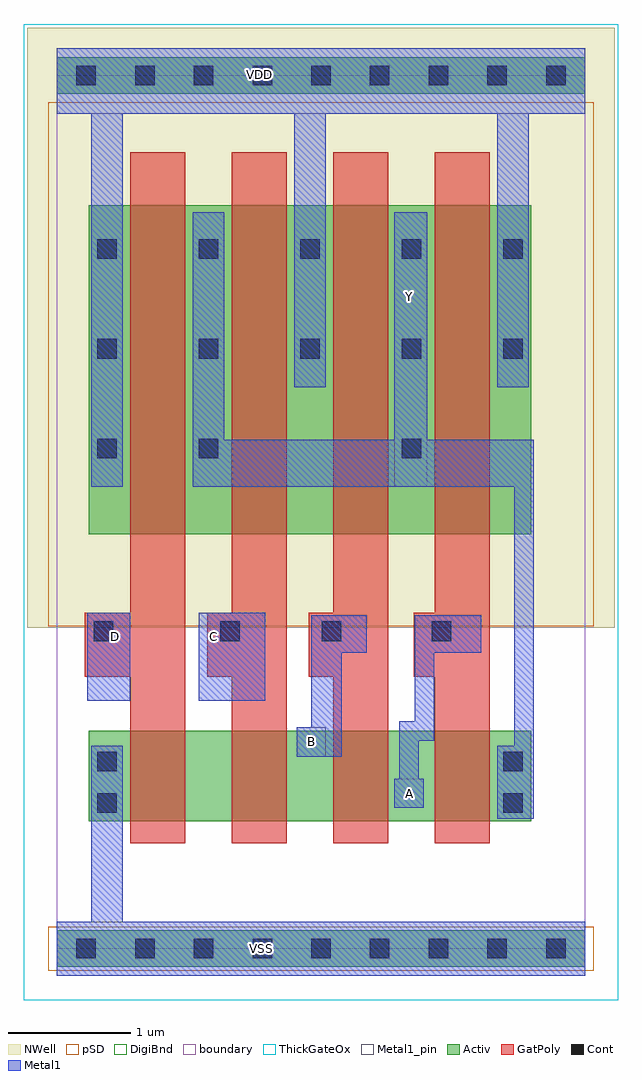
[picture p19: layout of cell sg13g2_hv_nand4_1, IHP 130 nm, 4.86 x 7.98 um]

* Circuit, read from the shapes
.subckt sg13g2_hv_nand4_1 A B C D VDD VSS Y
XM1 n1 D VSS VSS sg13_hv_nmos w=0.74u l=0.45u
XM2 n2 C n1 VSS sg13_hv_nmos w=0.74u l=0.45u
XM3 n3 B n2 VSS sg13_hv_nmos w=0.74u l=0.45u
XM4 Y A n3 VSS sg13_hv_nmos w=0.74u l=0.45u
XM5 Y D VDD VDD sg13_hv_pmos w=2.69u l=0.45u
XM6 VDD C Y VDD sg13_hv_pmos w=2.69u l=0.45u
XM7 Y B VDD VDD sg13_hv_pmos w=2.69u l=0.45u
XM8 VDD A Y VDD sg13_hv_pmos w=2.69u l=0.45u
.ends

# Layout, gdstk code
import gdstk
lib = gdstk.Library(unit=1e-6, precision=1e-09)
def R(c, l, rs):  # rectangles x0, y0, x1, y1
    for r in rs: c.add(gdstk.rectangle(r[:2], r[2:], *l))
def A(c, l, x, y, w, h, nx, ny, dx, dy):  # array of equal rectangles
    R(c, l, [(x+i*dx, y+j*dy, x+i*dx+w, y+j*dy+h) for i in range(nx) for j in range(ny)])
def P(c, l, *ps):  # polygons
    for p in ps: c.add(gdstk.Polygon(p, *l))
Activ = (1, 0)
GatPoly = (5, 0)
Cont = (6, 0)
Metal1 = (8, 0)
Metal1_pin = (8, 2)
pSD = (14, 0)
DigiBnd = (16, 0)
NWell = (31, 0)
ThickGateOx = (44, 0)
boundary = (189, 4)

sg13g2_hv_nand4_1 = lib.new_cell('sg13g2_hv_nand4_1')
R(sg13g2_hv_nand4_1, Activ, [(0,-0.15,4.32,0.15), (0.26,1.04,3.88,1.78), (0.26,3.39,3.88,6.08), (0,6.99,4.32,7.29)])
P(sg13g2_hv_nand4_1, GatPoly, [(2.26,0.86),(2.26,2.225),(2.06,2.225),(2.06,2.745),(2.26,2.745),(2.26,6.51),(2.71,6.51),(2.71,0.86)],
  [(3.09,0.86),(3.09,2.225),(2.92,2.225),(2.92,2.745),(3.09,2.745),(3.09,6.51),(3.54,6.51),(3.54,0.86)],
  [(1.43,0.86),(1.43,2.225),(1.23,2.225),(1.23,2.745),(1.43,2.745),(1.43,6.51),(1.88,6.51),(1.88,0.86)],
  [(0.6,0.86),(0.6,2.225),(0.23,2.225),(0.23,2.745),(0.6,2.745),(0.6,6.51),(1.05,6.51),(1.05,0.86)])
A(sg13g2_hv_nand4_1, Cont, 0.16, -0.08, 0.16, 0.16, 9, 2, 0.48, 7.14)
A(sg13g2_hv_nand4_1, Cont, 0.33, 4.825, 0.16, 0.16, 5, 2, 0.83, 0.815)
R(sg13g2_hv_nand4_1, Cont, [(0.33,1.11,0.49,1.27), (3.65,1.11,3.81,1.27), (0.33,1.45,0.49,1.61), (3.65,1.45,3.81,1.61), (0.3,2.515,0.46,2.675), (1.335,2.515,1.495,2.675), (2.165,2.515,2.325,2.675), (3.065,2.515,3.225,2.675), (0.33,4.01,0.49,4.17), (1.16,4.01,1.32,4.17), (2.82,4.01,2.98,4.17)])
R(sg13g2_hv_nand4_1, Metal1, [(0.25,2.025,0.6,2.745), (1.16,2.025,1.705,2.745)])
P(sg13g2_hv_nand4_1, Metal1, [(0,-0.22),(0,0.22),(0.28,0.22),(0.28,1.66),(0.54,1.66),(0.54,0.22),(4.32,0.22),(4.32,-0.22)],
  [(1.96,1.57),(1.96,1.81),(2.08,1.81),(2.08,2.725),(2.535,2.725),(2.535,2.42),(2.33,2.42),(2.33,1.57)],
  [(3.6,1.06),(3.6,1.66),(3.74,1.66),(3.74,3.775),(1.11,3.775),(1.11,6.02),(1.37,6.02),(1.37,4.16),(2.76,4.16),(2.76,6.02),(3.03,6.02),(3.03,4.16),(3.9,4.16),(3.9,1.06)],
  [(0.28,3.775),(0.28,6.825),(0,6.825),(0,7.36),(4.32,7.36),(4.32,6.825),(3.86,6.825),(3.86,4.59),(3.6,4.59),(3.6,6.825),(2.2,6.825),(2.2,4.59),(1.94,4.59),(1.94,6.825),(0.54,6.825),(0.54,3.775)],
  [(2.76,1.15),(2.76,1.39),(2.8,1.39),(2.8,1.86),(2.925,1.86),(2.925,2.725),(3.47,2.725),(3.47,2.42),(3.085,2.42),(3.085,1.7),(2.96,1.7),(2.96,1.39),(3,1.39),(3,1.15)])
R(sg13g2_hv_nand4_1, Metal1_pin, [(0,-0.22,4.32,0.22), (2.76,1.15,3,1.39), (1.96,1.57,2.2,1.81), (0.25,2.025,0.6,2.745), (1.16,2.025,1.705,2.745), (2.76,3.775,3.03,6.02), (0,6.825,4.32,7.36)])
R(sg13g2_hv_nand4_1, pSD, [(-0.07,-0.18,4.39,0.18), (-0.07,2.635,4.39,6.92)])
R(sg13g2_hv_nand4_1, DigiBnd, [(0,0,4.32,7.14)])
R(sg13g2_hv_nand4_1, NWell, [(-0.24,2.625,4.56,7.53)])
R(sg13g2_hv_nand4_1, ThickGateOx, [(-0.27,-0.42,4.59,7.56)])
R(sg13g2_hv_nand4_1, boundary, [(0,0,4.32,7.14)])
sg13g2_hv_nand4_1.add(gdstk.Label('VDD', (1.655,7.145), layer=8, texttype=25))
sg13g2_hv_nand4_1.add(gdstk.Label('Y', (2.88,5.335), layer=8, texttype=25))
sg13g2_hv_nand4_1.add(gdstk.Label('B', (2.08,1.69), layer=8, texttype=25))
sg13g2_hv_nand4_1.add(gdstk.Label('C', (1.28,2.555), layer=8, texttype=25))
sg13g2_hv_nand4_1.add(gdstk.Label('VSS', (1.67,0), layer=8, texttype=25))
sg13g2_hv_nand4_1.add(gdstk.Label('A', (2.88,1.27), layer=8, texttype=25))
sg13g2_hv_nand4_1.add(gdstk.Label('D', (0.48,2.555), layer=8, texttype=25))

lib.write_gds('sg13g2_hv_nand4_1.gds')
